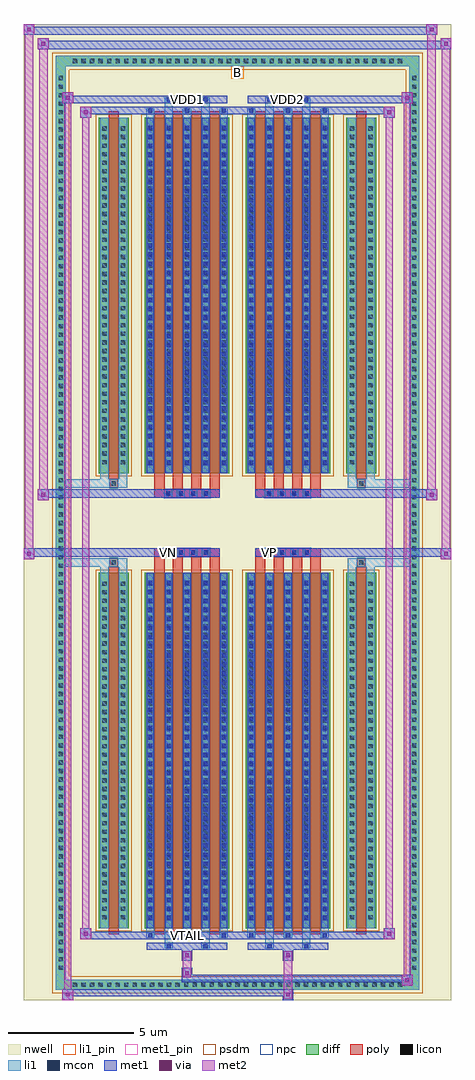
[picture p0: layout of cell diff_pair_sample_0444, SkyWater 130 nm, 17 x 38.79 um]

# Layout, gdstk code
import gdstk
lib = gdstk.Library(unit=1e-6, precision=5e-09)
def R(c, l, rs):  # rectangles x0, y0, x1, y1
    for r in rs: c.add(gdstk.rectangle(r[:2], r[2:], *l))
def A(c, l, x, y, w, h, nx, ny, dx, dy):  # array of equal rectangles
    R(c, l, [(x+i*dx, y+j*dy, x+i*dx+w, y+j*dy+h) for i in range(nx) for j in range(ny)])
def P(c, l, *ps):  # polygons
    for p in ps: c.add(gdstk.Polygon(p, *l))
nwell = (64, 20)
diff = (65, 20)
poly = (66, 20)
licon = (66, 44)
li1_pin = (67, 16)
li1 = (67, 20)
mcon = (67, 44)
met1_pin = (68, 16)
met1 = (68, 20)
via = (68, 44)
met2 = (69, 20)
psdm = (94, 20)
npc = (95, 20)

diff_pair_sample_0444 = lib.new_cell('diff_pair_sample_0444')
R(diff_pair_sample_0444, nwell, [(-8.5,-18.96,8.5,19.83), (-5.82,-17.15,-0.01,-0.805), (0.01,-17.15,5.82,-0.805), (-5.82,0.805,-0.01,17.15), (0.01,0.805,5.82,17.15)])
A(diff_pair_sample_0444, diff, -6.665, -18.56, 0.41, 0.41, 39, 2, 0.34, 36.71)
A(diff_pair_sample_0444, diff, -7.23, -17.885, 0.41, 0.41, 1, 105, 0, 0.34)
A(diff_pair_sample_0444, diff, 6.82, -17.885, 0.41, 0.41, 1, 105, 0, 0.34)
R(diff_pair_sample_0444, diff, [(-6.665,-18.56,6.665,-18.15), (-7.23,-17.885,-6.82,17.885), (6.82,-17.885,7.23,17.885), (-5.51,-16.105,-4.33,-1.985), (-3.69,-16.105,-0.32,-1.985), (0.32,-16.105,3.69,-1.985), (4.33,-16.105,5.51,-1.985), (-5.51,1.985,-4.33,16.105), (-3.69,1.985,-0.32,16.105), (0.32,1.985,3.69,16.105), (4.33,1.985,5.51,16.105), (-6.665,18.15,6.665,18.56)])
P(diff_pair_sample_0444, diff, [(7.23,18.56),(-7.23,18.56),(-7.23,-18.15),(-6.82,-18.15),(-6.82,18.15),(6.82,18.15),(6.82,-18.15),(-6.82,-18.15),(-7.23,-18.15),(-7.23,-18.56),(7.23,-18.56)])
A(diff_pair_sample_0444, poly, -3.3, -16.355, 0.4, 14.62, 4, 2, 0.73, 18.09)
A(diff_pair_sample_0444, poly, 0.71, -16.355, 0.4, 14.62, 4, 2, 0.73, 18.09)
A(diff_pair_sample_0444, poly, -3.3, -1.735, 0.4, 0.4, 4, 2, 0.73, 3.07)
A(diff_pair_sample_0444, poly, 0.71, -1.735, 0.4, 0.4, 4, 2, 0.73, 3.07)
A(diff_pair_sample_0444, poly, -2.92, -1.335, 0.33, 0.33, 4, 2, 0.5, 2.34)
A(diff_pair_sample_0444, poly, 1.09, -1.335, 0.33, 0.33, 4, 2, 0.5, 2.34)
R(diff_pair_sample_0444, poly, [(-5.12,-16.355,-4.72,-1.735), (4.72,-16.355,5.12,-1.735), (-5.085,-1.735,-4.755,-1.405), (-5.085,-1.735,-4.755,-1.405), (4.755,-1.735,5.085,-1.405), (4.755,-1.735,5.085,-1.405), (-3.3,-1.335,-0.71,-1.005), (0.71,-1.335,3.3,-1.005), (-3.3,1.005,-0.71,1.335), (0.71,1.005,3.3,1.335), (-5.085,1.405,-4.755,1.735), (-5.085,1.405,-4.755,1.735), (4.755,1.405,5.085,1.735), (4.755,1.405,5.085,1.735), (-5.12,1.735,-4.72,16.355), (4.72,1.735,5.12,16.355)])
A(diff_pair_sample_0444, licon, -6.545, -18.44, 0.17, 0.17, 39, 2, 0.34, 36.71)
A(diff_pair_sample_0444, licon, -7.11, -17.765, 0.17, 0.17, 1, 105, 0, 0.34)
A(diff_pair_sample_0444, licon, 6.94, -17.765, 0.17, 0.17, 1, 105, 0, 0.34)
A(diff_pair_sample_0444, licon, -5.37, -15.76, 0.17, 0.17, 1, 40, 0, 0.34)
A(diff_pair_sample_0444, licon, -4.64, -15.76, 0.17, 0.17, 1, 40, 0, 0.34)
A(diff_pair_sample_0444, licon, -3.55, -15.76, 0.17, 0.17, 5, 40, 0.73, 0.34)
A(diff_pair_sample_0444, licon, 0.46, -15.76, 0.17, 0.17, 5, 40, 0.73, 0.34)
A(diff_pair_sample_0444, licon, 4.47, -15.76, 0.17, 0.17, 1, 40, 0, 0.34)
A(diff_pair_sample_0444, licon, 5.2, -15.76, 0.17, 0.17, 1, 40, 0, 0.34)
A(diff_pair_sample_0444, licon, -2.84, -1.255, 0.17, 0.17, 4, 2, 0.5, 2.34)
A(diff_pair_sample_0444, licon, 1.17, -1.255, 0.17, 0.17, 4, 2, 0.5, 2.34)
A(diff_pair_sample_0444, licon, -5.37, 2.33, 0.17, 0.17, 1, 40, 0, 0.34)
A(diff_pair_sample_0444, licon, -4.64, 2.33, 0.17, 0.17, 1, 40, 0, 0.34)
A(diff_pair_sample_0444, licon, -3.55, 2.33, 0.17, 0.17, 5, 40, 0.73, 0.34)
A(diff_pair_sample_0444, licon, 0.46, 2.33, 0.17, 0.17, 5, 40, 0.73, 0.34)
A(diff_pair_sample_0444, licon, 4.47, 2.33, 0.17, 0.17, 1, 40, 0, 0.34)
A(diff_pair_sample_0444, licon, 5.2, 2.33, 0.17, 0.17, 1, 40, 0, 0.34)
R(diff_pair_sample_0444, licon, [(-5.005,-1.655,-4.835,-1.485), (4.835,-1.655,5.005,-1.485), (-5.005,1.485,-4.835,1.655), (4.835,1.485,5.005,1.655)])
R(diff_pair_sample_0444, li1_pin, [(-0.25,17.65,0.25,18.15)])
A(diff_pair_sample_0444, li1, -6.625, -18.52, 0.33, 0.33, 39, 2, 0.34, 36.71)
A(diff_pair_sample_0444, li1, -7.19, -17.845, 0.33, 0.33, 1, 105, 0, 0.34)
A(diff_pair_sample_0444, li1, 6.86, -17.845, 0.33, 0.33, 1, 105, 0, 0.34)
A(diff_pair_sample_0444, li1, -3.63, -16.48, 0.33, 0.375, 3, 2, 1.46, 32.585)
A(diff_pair_sample_0444, li1, -3.55, -16.48, 0.17, 0.17, 3, 2, 1.46, 32.79)
A(diff_pair_sample_0444, li1, 0.38, -16.48, 0.33, 0.375, 3, 2, 1.46, 32.585)
A(diff_pair_sample_0444, li1, 0.46, -16.48, 0.17, 0.17, 3, 2, 1.46, 32.79)
A(diff_pair_sample_0444, li1, -3.63, -16.105, 0.33, 14.12, 5, 2, 0.73, 18.09)
A(diff_pair_sample_0444, li1, 0.38, -16.105, 0.33, 14.12, 5, 2, 0.73, 18.09)
A(diff_pair_sample_0444, li1, -5.45, -15.84, 0.33, 0.33, 1, 40, 0, 0.34)
A(diff_pair_sample_0444, li1, -4.72, -15.84, 0.33, 0.33, 1, 40, 0, 0.34)
A(diff_pair_sample_0444, li1, -3.63, -15.84, 0.33, 0.33, 5, 40, 0.73, 0.34)
A(diff_pair_sample_0444, li1, 0.38, -15.84, 0.33, 0.33, 5, 40, 0.73, 0.34)
A(diff_pair_sample_0444, li1, 4.39, -15.84, 0.33, 0.33, 1, 40, 0, 0.34)
A(diff_pair_sample_0444, li1, 5.12, -15.84, 0.33, 0.33, 1, 40, 0, 0.34)
A(diff_pair_sample_0444, li1, -3.55, -15.79, 0.17, 0.17, 5, 38, 0.73, 0.36)
A(diff_pair_sample_0444, li1, -3.55, -15.79, 0.17, 13.49, 5, 2, 0.73, 18.09)
A(diff_pair_sample_0444, li1, 0.46, -15.79, 0.17, 0.17, 5, 38, 0.73, 0.36)
A(diff_pair_sample_0444, li1, 0.46, -15.79, 0.17, 13.49, 5, 2, 0.73, 18.09)
A(diff_pair_sample_0444, li1, -2.92, -1.335, 0.33, 0.33, 4, 2, 0.5, 2.34)
A(diff_pair_sample_0444, li1, 1.09, -1.335, 0.33, 0.33, 4, 2, 0.5, 2.34)
A(diff_pair_sample_0444, li1, -5.45, 2.25, 0.33, 0.33, 1, 40, 0, 0.34)
A(diff_pair_sample_0444, li1, -4.72, 2.25, 0.33, 0.33, 1, 40, 0, 0.34)
A(diff_pair_sample_0444, li1, -3.63, 2.25, 0.33, 0.33, 5, 40, 0.73, 0.34)
A(diff_pair_sample_0444, li1, 0.38, 2.25, 0.33, 0.33, 5, 40, 0.73, 0.34)
A(diff_pair_sample_0444, li1, 4.39, 2.25, 0.33, 0.33, 1, 40, 0, 0.34)
A(diff_pair_sample_0444, li1, 5.12, 2.25, 0.33, 0.33, 1, 40, 0, 0.34)
A(diff_pair_sample_0444, li1, -3.55, 2.3, 0.17, 0.17, 5, 38, 0.73, 0.36)
A(diff_pair_sample_0444, li1, 0.46, 2.3, 0.17, 0.17, 5, 38, 0.73, 0.36)
R(diff_pair_sample_0444, li1, [(-7.23,-18.56,-6.82,-18.15), (-7.23,-18.56,-6.82,-18.15), (-6.82,-18.56,6.82,-18.15), (6.82,-18.56,7.23,-18.15), (6.82,-18.56,7.23,-18.15), (-7.23,-18.15,-6.82,18.15), (6.82,-18.15,7.23,18.15), (-2.9,-16.91,-2.57,-16.105), (-2.82,-16.91,-2.65,-16.74), (-1.44,-16.91,-1.11,-16.105), (-1.36,-16.91,-1.19,-16.74), (1.11,-16.91,1.44,-16.105), (1.19,-16.91,1.36,-16.74), (2.57,-16.91,2.9,-16.105), (2.65,-16.91,2.82,-16.74), (-5.45,-16.105,-5.12,-1.985), (-4.72,-16.105,-4.39,-1.985), (4.39,-16.105,4.72,-1.985), (5.12,-16.105,5.45,-1.985), (-5.45,-1.985,-5.12,-1.405), (-4.72,-1.985,-4.39,-1.405), (4.39,-1.985,4.72,-1.405), (5.12,-1.985,5.45,-1.405), (-7.23,-1.735,-5.085,-1.405), (-5.45,-1.735,-5.085,-1.405), (-5.085,-1.735,-4.755,-1.405), (-4.755,-1.735,-4.39,-1.405), (4.39,-1.735,4.755,-1.405), (4.755,-1.735,5.085,-1.405), (4.755,-1.735,7.23,-1.405), (5.085,-1.735,5.45,-1.405), (-7.23,1.405,-5.085,1.735), (-5.45,1.405,-5.085,1.735), (-5.45,1.405,-5.12,1.985), (-5.085,1.405,-4.755,1.735), (-4.755,1.405,-4.39,1.735), (-4.72,1.405,-4.39,1.985), (4.39,1.405,4.755,1.735), (4.39,1.405,4.72,1.985), (4.755,1.405,5.085,1.735), (4.755,1.405,7.23,1.735), (5.085,1.405,5.45,1.735), (5.12,1.405,5.45,1.985), (-5.45,1.985,-5.12,16.105), (-4.72,1.985,-4.39,16.105), (4.39,1.985,4.72,16.105), (5.12,1.985,5.45,16.105), (-2.9,16.105,-2.57,16.91), (-1.44,16.105,-1.11,16.91), (1.11,16.105,1.44,16.91), (2.57,16.105,2.9,16.91), (-2.82,16.74,-2.65,16.91), (-1.36,16.74,-1.19,16.91), (1.19,16.74,1.36,16.91), (2.65,16.74,2.82,16.91), (-7.23,18.15,-6.82,18.56), (-7.23,18.15,-6.82,18.56), (-6.82,18.15,6.82,18.56), (6.82,18.15,7.23,18.56), (6.82,18.15,7.23,18.56)])
A(diff_pair_sample_0444, mcon, -3.55, -16.48, 0.17, 0.17, 3, 2, 1.46, 32.79)
A(diff_pair_sample_0444, mcon, 0.46, -16.48, 0.17, 0.17, 3, 2, 1.46, 32.79)
A(diff_pair_sample_0444, mcon, -3.55, -15.79, 0.17, 0.17, 5, 38, 0.73, 0.36)
A(diff_pair_sample_0444, mcon, 0.46, -15.79, 0.17, 0.17, 5, 38, 0.73, 0.36)
A(diff_pair_sample_0444, mcon, -2.84, -1.255, 0.17, 0.17, 4, 2, 0.5, 2.34)
A(diff_pair_sample_0444, mcon, 1.17, -1.255, 0.17, 0.17, 4, 2, 0.5, 2.34)
A(diff_pair_sample_0444, mcon, -3.55, 2.3, 0.17, 0.17, 5, 38, 0.73, 0.36)
A(diff_pair_sample_0444, mcon, 0.46, 2.3, 0.17, 0.17, 5, 38, 0.73, 0.36)
R(diff_pair_sample_0444, mcon, [(-2.82,-16.91,-2.65,-16.74), (-1.36,-16.91,-1.19,-16.74), (1.19,-16.91,1.36,-16.74), (2.65,-16.91,2.82,-16.74), (-2.82,16.74,-2.65,16.91), (-1.36,16.74,-1.19,16.91), (1.19,16.74,1.36,16.91), (2.65,16.74,2.82,16.91)])
R(diff_pair_sample_0444, met1_pin, [(-2.14,-16.52,-1.87,-16.25), (-2.89,-1.295,-2.62,-1.025), (1.12,-1.295,1.39,-1.025), (-2.14,16.7,-1.87,16.97), (1.87,16.7,2.14,16.97)])
A(diff_pair_sample_0444, met1, -3.61, -16.54, 0.29, 0.29, 3, 2, 1.46, 32.79)
A(diff_pair_sample_0444, met1, 0.4, -16.54, 0.29, 0.29, 3, 2, 1.46, 32.79)
A(diff_pair_sample_0444, met1, -3.61, -16.105, 0.29, 14.12, 5, 2, 0.73, 18.09)
A(diff_pair_sample_0444, met1, 0.4, -16.105, 0.29, 14.12, 5, 2, 0.73, 18.09)
A(diff_pair_sample_0444, met1, -3.61, -15.85, 0.29, 0.29, 5, 38, 0.73, 0.36)
A(diff_pair_sample_0444, met1, 0.4, -15.85, 0.29, 0.29, 5, 38, 0.73, 0.36)
A(diff_pair_sample_0444, met1, -2.9, -1.315, 0.29, 0.29, 4, 2, 0.5, 2.34)
A(diff_pair_sample_0444, met1, 1.11, -1.315, 0.29, 0.29, 4, 2, 0.5, 2.34)
A(diff_pair_sample_0444, met1, -3.61, 2.24, 0.29, 0.29, 5, 38, 0.73, 0.36)
A(diff_pair_sample_0444, met1, 0.4, 2.24, 0.29, 0.29, 5, 38, 0.73, 0.36)
R(diff_pair_sample_0444, met1, [(-6.96,-18.96,-6.53,-18.53), (1.79,-18.96,2.22,-18.53), (-6.96,-18.82,2.22,-18.53), (6.53,-18.39,6.96,-17.96), (-2.22,-18.25,6.96,-17.96), (-2.22,-18.11,-1.79,-17.68), (-2.22,-17.4,-1.79,-16.97), (1.79,-17.4,2.22,-16.97), (-3.61,-16.97,-0.4,-16.68), (-2.88,-16.97,-2.59,-16.68), (-1.42,-16.97,-1.13,-16.68), (0.4,-16.97,3.61,-16.68), (1.13,-16.97,1.42,-16.68), (2.59,-16.97,2.88,-16.68), (-6.25,-16.54,-5.82,-16.11), (-6.25,-16.54,-3.61,-16.25), (-3.61,-16.54,-0.4,-16.25), (-0.4,-16.54,0.4,-16.25), (0.4,-16.54,3.61,-16.25), (3.61,-16.54,6.25,-16.25), (5.82,-16.54,6.25,-16.11), (-8.5,-1.435,-8.07,-1.005), (8.07,-1.435,8.5,-1.005), (-8.5,-1.335,-0.71,-1.005), (-3.3,-1.335,-0.71,-1.005), (0.71,-1.335,3.3,-1.005), (0.71,-1.335,8.5,-1.005), (-7.93,0.905,-7.5,1.335), (7.5,0.905,7.93,1.335), (-7.93,1.005,-3.3,1.335), (-3.3,1.005,-0.71,1.335), (0.71,1.005,3.3,1.335), (3.3,1.005,7.93,1.335), (-6.25,16.11,-5.82,16.54), (5.82,16.11,6.25,16.54), (-6.25,16.25,-3.61,16.54), (-3.61,16.25,-0.4,16.54), (-0.4,16.25,0.4,16.54), (0.4,16.25,3.61,16.54), (3.61,16.25,6.25,16.54), (-6.96,16.68,-6.53,17.11), (-6.96,16.68,-3.61,16.97), (-3.61,16.68,-0.4,16.97), (-2.88,16.68,-2.59,16.97), (-1.42,16.68,-1.13,16.97), (0.4,16.68,3.61,16.97), (1.13,16.68,1.42,16.97), (2.59,16.68,2.88,16.97), (3.61,16.68,6.96,16.97), (6.53,16.68,6.96,17.11), (-7.93,18.83,-7.5,19.26), (-7.93,18.83,-5.82,19.16), (-5.82,18.83,5.82,19.16), (5.82,18.83,8.5,19.16), (8.07,18.83,8.5,19.26), (-8.5,19.4,-8.07,19.83), (-8.5,19.4,-5.82,19.73), (-5.82,19.4,5.82,19.73), (5.82,19.4,7.93,19.73), (7.5,19.4,7.93,19.83)])
R(diff_pair_sample_0444, via, [(-6.82,-18.82,-6.67,-18.67), (1.93,-18.82,2.08,-18.67), (6.67,-18.25,6.82,-18.1), (-2.08,-17.97,-1.93,-17.82), (-2.08,-17.26,-1.93,-17.11), (1.93,-17.26,2.08,-17.11), (-6.11,-16.4,-5.96,-16.25), (5.96,-16.4,6.11,-16.25), (-8.36,-1.295,-8.21,-1.145), (8.21,-1.295,8.36,-1.145), (-7.79,1.045,-7.64,1.195), (7.64,1.045,7.79,1.195), (-6.11,16.25,-5.96,16.4), (5.96,16.25,6.11,16.4), (-6.82,16.82,-6.67,16.97), (6.67,16.82,6.82,16.97), (-7.79,18.97,-7.64,19.12), (8.21,18.97,8.36,19.12), (-8.36,19.54,-8.21,19.69), (7.64,19.54,7.79,19.69)])
R(diff_pair_sample_0444, met2, [(-6.96,-18.96,-6.53,-18.53), (-6.89,-18.96,-6.6,17.11), (-6.6,-18.96,-6.53,-18.53), (-6.91,-18.91,-6.58,-18.58), (1.84,-18.91,2.17,-18.58), (1.84,-18.58,2.17,-17.35), (6.53,-18.39,6.96,-17.96), (6.6,-18.39,6.89,17.11), (6.89,-18.39,6.96,-17.96), (6.58,-18.34,6.91,-18.01), (-2.17,-18.06,-1.84,-17.73), (-2.17,-17.73,-1.84,-17.35), (-2.17,-17.35,-1.84,-17.02), (1.84,-17.35,2.17,-17.02), (-6.25,-16.54,-5.82,-16.11), (-6.18,-16.54,-5.89,16.54), (-5.89,-16.54,-5.82,-16.11), (5.82,-16.54,6.25,-16.11), (5.89,-16.54,6.18,16.54), (6.18,-16.54,6.25,-16.11), (-6.2,-16.49,-5.87,-16.16), (5.87,-16.49,6.2,-16.16), (-8.5,-1.435,-8.07,-1.005), (-8.45,-1.435,-8.12,19.83), (-8.12,-1.435,-8.07,-1.005), (8.07,-1.435,8.5,-1.005), (8.12,-1.435,8.45,19.26), (8.45,-1.435,8.5,-1.005), (-8.45,-1.385,-8.12,-1.055), (8.12,-1.385,8.45,-1.055), (-7.93,0.905,-7.5,1.335), (-7.88,0.905,-7.55,19.26), (-7.55,0.905,-7.5,1.335), (7.5,0.905,7.93,1.335), (7.55,0.905,7.88,19.83), (7.88,0.905,7.93,1.335), (-7.88,0.955,-7.55,1.285), (7.55,0.955,7.88,1.285), (-6.25,16.11,-5.82,16.54), (-5.89,16.11,-5.82,16.54), (5.82,16.11,6.25,16.54), (6.18,16.11,6.25,16.54), (-6.2,16.16,-5.87,16.49), (5.87,16.16,6.2,16.49), (-6.96,16.68,-6.53,17.11), (-6.6,16.68,-6.53,17.11), (6.53,16.68,6.96,17.11), (6.89,16.68,6.96,17.11), (-6.91,16.73,-6.58,17.06), (6.58,16.73,6.91,17.06), (-7.93,18.83,-7.5,19.26), (-7.55,18.83,-7.5,19.26), (8.07,18.83,8.5,19.26), (8.45,18.83,8.5,19.26), (-7.88,18.88,-7.55,19.21), (8.12,18.88,8.45,19.21), (-8.5,19.4,-8.07,19.83), (-8.12,19.4,-8.07,19.83), (7.5,19.4,7.93,19.83), (7.88,19.4,7.93,19.83), (-8.45,19.45,-8.12,19.78), (7.55,19.45,7.88,19.78)])
R(diff_pair_sample_0444, psdm, [(-5.64,-16.235,-4.2,-1.855), (-3.82,-16.235,-0.19,-1.855), (0.19,-16.235,3.82,-1.855), (4.2,-16.235,5.64,-1.855), (-5.64,1.855,-4.2,16.235), (-3.82,1.855,-0.19,16.235), (0.19,1.855,3.82,16.235), (4.2,1.855,5.64,16.235)])
P(diff_pair_sample_0444, psdm, [(7.36,18.69),(-7.36,18.69),(-7.36,-18.02),(-6.69,-18.02),(-6.69,18.02),(6.69,18.02),(6.69,-18.02),(-6.69,-18.02),(-7.36,-18.02),(-7.36,-18.69),(7.36,-18.69)])
A(diff_pair_sample_0444, npc, -2.94, -1.355, 0.37, 0.37, 4, 2, 0.5, 2.34)
A(diff_pair_sample_0444, npc, 1.07, -1.355, 0.37, 0.37, 4, 2, 0.5, 2.34)
R(diff_pair_sample_0444, npc, [(-5.105,-1.755,-4.735,-1.385), (4.735,-1.755,5.105,-1.385), (-2.94,-1.355,-2.07,-0.985), (-2.94,-1.355,-2.07,-0.985), (-2.44,-1.355,-1.57,-0.985), (-2.44,-1.355,-1.57,-0.985), (-1.94,-1.355,-1.07,-0.985), (-1.94,-1.355,-1.07,-0.985), (1.07,-1.355,1.94,-0.985), (1.07,-1.355,1.94,-0.985), (1.57,-1.355,2.44,-0.985), (1.57,-1.355,2.44,-0.985), (2.07,-1.355,2.94,-0.985), (2.07,-1.355,2.94,-0.985), (-2.94,0.985,-2.07,1.355), (-2.94,0.985,-2.07,1.355), (-2.44,0.985,-1.57,1.355), (-2.44,0.985,-1.57,1.355), (-1.94,0.985,-1.07,1.355), (-1.94,0.985,-1.07,1.355), (1.07,0.985,1.94,1.355), (1.07,0.985,1.94,1.355), (1.57,0.985,2.44,1.355), (1.57,0.985,2.44,1.355), (2.07,0.985,2.94,1.355), (2.07,0.985,2.94,1.355), (-5.105,1.385,-4.735,1.755), (4.735,1.385,5.105,1.755)])
diff_pair_sample_0444.add(gdstk.Label('VTAIL', (-2.005,-16.385), layer=68, texttype=5))
diff_pair_sample_0444.add(gdstk.Label('VN', (-2.755,-1.16), layer=68, texttype=5))
diff_pair_sample_0444.add(gdstk.Label('VP', (1.255,-1.16), layer=68, texttype=5))
diff_pair_sample_0444.add(gdstk.Label('B', (0,17.9), layer=67, texttype=5))
diff_pair_sample_0444.add(gdstk.Label('VDD2', (2.005,16.835), layer=68, texttype=5))
diff_pair_sample_0444.add(gdstk.Label('VDD1', (-2.005,16.835), layer=68, texttype=5))

lib.write_gds('diff_pair_sample_0444.gds')
